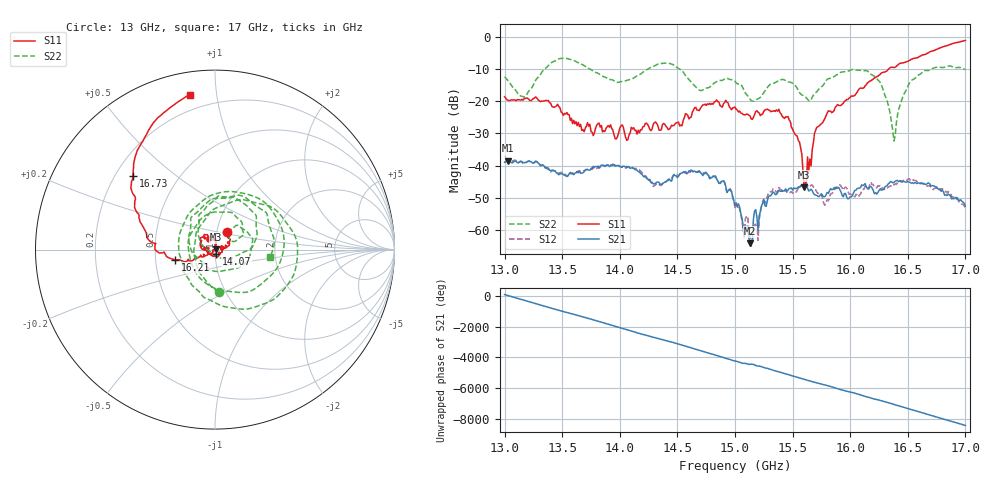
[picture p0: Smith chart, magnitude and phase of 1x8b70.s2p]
!Keysight Technologies,P9374A,MY57211807,A.19.30.04
!Date: Friday, May 08, 2026 14:30:59
!Correction: S11(C  2-Port  )
!S21(C  2-Port  )
!S12(C  2-Port  )
!S22(C  2-Port  )
!S2P File: Measurements: S11, S21, S12, S22:
# Hz S  dB  R 50
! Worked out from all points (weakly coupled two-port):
!   401 points, 13 GHz to 17 GHz, reference 50 ohm
!   highest |S21| = -38.45 dB at 13.03 GHz (marker M1); lowest = -64.1 dB at 15.13 GHz (marker M2)
!   lowest |S11| = -46.7 dB at 15.6 GHz (marker M3), VSWR 1.01, Z = 50.4 + j0.166 ohm
!   |S11| at or under -10 dB: start of sweep to 16.33 GHz
!   |S22| runs from -32.4 to -6.7 dB; largest |S21 - S12| = 0.0013
!   S11 on the Smith chart (normalised r, x): 13 GHz: 1.11, +0.22; 14.07 GHz: 1.02, -0.05; 16.21 GHz: 0.63, -0.08; 16.73 GHz: 0.27, +0.36; 17 GHz: 0.12, +0.84
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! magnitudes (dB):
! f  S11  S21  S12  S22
! 13 GHz  -18.6  -38.9  -38.9  -12.4
! 13.03 GHz  -19.7  -38.5  -38.4  -13.7
! 13.17 GHz  -19.2  -39.1  -39.3  -18.7
! 13.42 GHz  -21.8  -41.4  -41.5  -7.8
! 13.67 GHz  -29.1  -42.4  -42.0  -8.6
! 14.07 GHz  -31.9  -40.4  -40.5  -13.5
! 14.34 GHz  -28.9  -45.2  -45.8  -8.4
! 14.73 GHz  -21.1  -42.5  -42.2  -16.3
! 15 GHz  -21.8  -52.1  -53.3  -13.9
! 15.13 GHz  -24.5  -64.1  -62.4  -19.3
! 15.31 GHz  -23.3  -49.4  -48.1  -14.7
! 15.46 GHz  -24.8  -47.7  -48.5  -14.0
! 15.56 GHz  -32.7  -46.8  -47.0  -17.3
! 15.6 GHz  -46.7  -46.2  -46.0  -18.4
! 15.67 GHz  -35.1  -47.7  -46.0  -18.8
! 15.81 GHz  -23.0  -48.6  -50.9  -13.0
! 16.21 GHz  -12.8  -48.7  -46.7  -12.3
! 16.34 GHz  -9.8  -45.4  -46.5  -22.6
! 16.38 GHz  -9.6  -45.2  -46.0  -32.4
! 16.52 GHz  -7.3  -45.2  -44.4  -14.0
! 16.73 GHz  -4.2  -46.3  -47.1  -9.6
! 17 GHz  -1.2  -52.5  -53.3  -10.2
